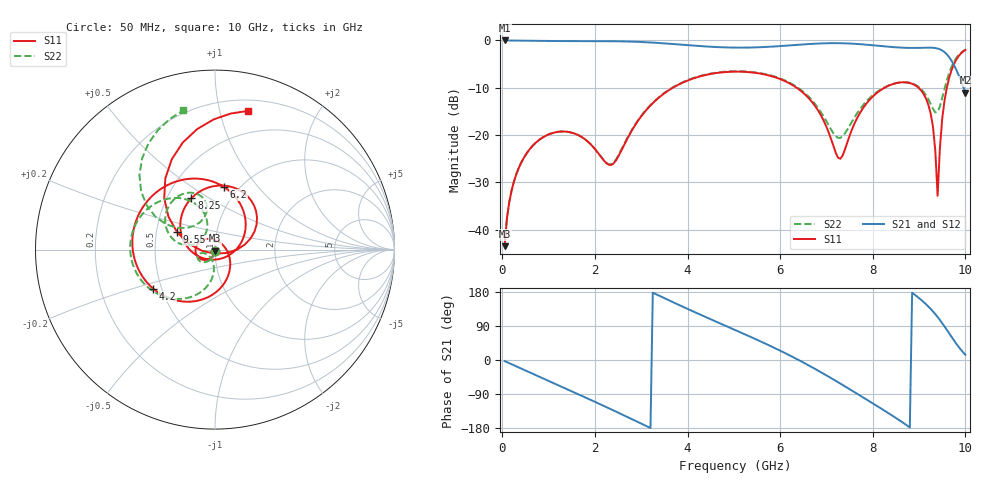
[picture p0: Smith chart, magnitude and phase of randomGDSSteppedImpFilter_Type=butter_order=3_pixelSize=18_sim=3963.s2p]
! freq	dB(S11)	phase(S11)	dB(S12)	phase(S12)
!  dB(S21)	phase(S21)	dB(S22)	phase(S22)
!S-par simulation data
#  GHz  S  DB  R 50
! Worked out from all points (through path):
!   200 points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, 50 MHz to 10 GHz, reference 50 ohm
!   highest |S21| = -0.01 dB at 50 MHz (marker M1); lowest = -11.1 dB at 10 GHz (marker M2)
!   group delay of S21, straight-line fit = 177 ps
!   lowest |S11| = -43.5 dB at 50 MHz (marker M3), VSWR 1.01, Z = 50 - j0.669 ohm
!   |S11| at or under -10 dB: start of sweep to 3.683 GHz; 6.356 GHz to 8.256 GHz (1.899 GHz wide, 26 % of centre); 8.988 GHz to 9.599 GHz (611.1 MHz wide, 6.58 % of centre)
!   |S22| runs from -43.5 to -2.0 dB; largest |S21 - S12| = 0
!   S11 on the Smith chart (normalised r, x): 50 MHz: 1.00, -0.01; 4.2 GHz: 0.45, -0.23; 6.2 GHz: 0.86, +0.68; 8.25 GHz: 0.66, +0.42; 9.55 GHz: 0.64, +0.13; 10 GHz: 0.29, +1.22
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0.05  -43.49 -91.0  -0.01 -2.8  -0.01 -2.8  -43.47 -90.2
0.2  -31.75 -101.9  -0.02 -11.1  -0.02 -11.1  -31.74 -99.0
0.55  -23.54 -124.8  -0.06 -30.4  -0.06 -30.4  -23.52 -116.7
1.75  -20.64 150.3  -0.15 -96.3  -0.15 -96.3  -20.65 -164.2
2.35  -26.32 48.3  -0.17 -130.2  -0.17 -130.2  -26.18 -129.2
3.4  -11.93 -93.7  -0.55 168.9  -0.55 168.9  -11.84 -109.6
4.2  -7.80 -147.8  -1.15 123.9  -1.15 123.9  -7.71 -144.9
5.05  -6.59 159.3  -1.52 78.0  -1.52 78.0  -6.51 177.3
6.2  -9.06 81.7  -1.06 12.5  -1.06 12.5  -8.91 126.6
6.7  -13.16 38.8  -0.72 -19.8  -0.72 -19.8  -12.79 107.9
7.3  -25.02 -90.3  -0.58 -62.2  -0.58 -62.2  -20.60 143.2
7.75  -14.90 165.0  -0.81 -95.6  -0.81 -95.6  -14.18 170.6
8.25  -10.03 114.6  -1.26 -133.4  -1.26 -133.4  -9.93 150.5
8.35  -9.54 105.4  -1.35 -141.1  -1.35 -141.1  -9.48 145.1
8.8  -9.00 63.6  -1.58 -178.0  -1.58 -178.0  -8.97 118.4
9.15  -12.30 24.7  -1.52 147.1  -1.52 147.1  -11.59 100.7
9.3  -18.26 -0.1  -1.55 128.2  -1.55 128.2  -14.44 108.1
9.4  -32.84 -90.4  -1.71 113.6  -1.71 113.6  -15.11 131.1
9.45  -22.72 -174.9  -1.88 105.6  -1.88 105.6  -13.94 143.3
9.55  -12.68 155.3  -2.48 88.3  -2.48 88.3  -10.17 152.6
9.75  -5.07 115.5  -5.14 52.0  -5.14 52.0  -4.57 135.4
10  -2.00 76.6  -11.06 13.7  -11.06 13.7  -1.99 102.8
